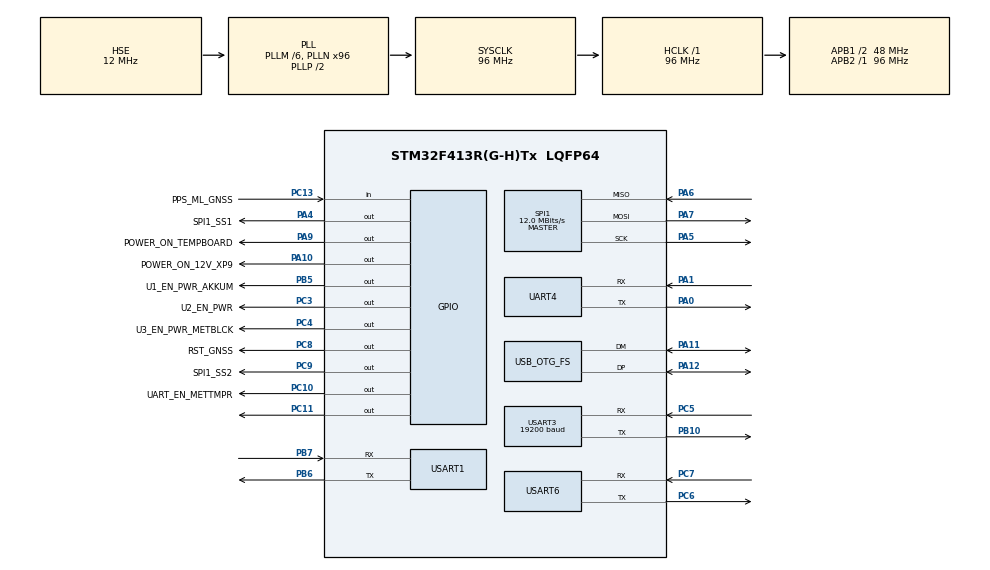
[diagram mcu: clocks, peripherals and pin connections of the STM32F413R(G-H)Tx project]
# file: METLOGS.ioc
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Mcu.Family=STM32F4
Mcu.Name=STM32F413R(G-H)Tx
Mcu.Package=LQFP64
NVIC.OTG_FS_IRQn=true\:0\:0\:false\:false\:true\:false\:true\:true
NVIC.PriorityGroup=NVIC_PRIORITYGROUP_4
NVIC.UART4_IRQn=true\:0\:0\:false\:false\:true\:true\:true\:true
NVIC.USART1_IRQn=true\:0\:0\:false\:false\:true\:true\:true\:true
NVIC.USART3_IRQn=true\:0\:0\:false\:false\:true\:true\:true\:true
NVIC.USART6_IRQn=true\:0\:0\:false\:false\:true\:true\:true\:true
PA0.Mode=Asynchronous
PA0.Signal=UART4_TX
PA1.Mode=Asynchronous
PA1.Signal=UART4_RX
PA10.GPIO_Label=POWER_ON_12V_XP9
PA10.Signal=GPIO_Output
PA11.Mode=Device_Only
PA11.Signal=USB_OTG_FS_DM
PA12.Mode=Device_Only
PA12.Signal=USB_OTG_FS_DP
PA4.GPIO_Label=SPI1_SS1
PA4.Signal=GPIO_Output
PA5.Mode=Full_Duplex_Master
PA5.Signal=SPI1_SCK
PA6.Mode=Full_Duplex_Master
PA6.Signal=SPI1_MISO
PA7.Mode=Full_Duplex_Master
PA7.Signal=SPI1_MOSI
PA9.GPIO_Label=POWER_ON_TEMPBOARD
PA9.PinState=GPIO_PIN_SET
PA9.Signal=GPIO_Output
PB10.Mode=Asynchronous
PB10.Signal=USART3_TX
PB5.GPIO_Label=U1_EN_PWR_AKKUM
PB5.Signal=GPIO_Output
PB6.Mode=Asynchronous
PB6.Signal=USART1_TX
PB7.Mode=Asynchronous
PB7.Signal=USART1_RX
PC10.GPIO_Label=UART_EN_METTMPR
PC10.GPIO_Speed=GPIO_SPEED_FREQ_VERY_HIGH
PC10.PinState=GPIO_PIN_RESET
PC10.Signal=GPIO_Output
PC11.GPIO_Speed=GPIO_SPEED_FREQ_VERY_HIGH
PC11.Signal=GPIO_Output
PC13.GPIO_Label=PPS_ML_GNSS
PC13.Signal=GPIO_Input
PC3.GPIO_Label=U2_EN_PWR
PC3.Signal=GPIO_Output
PC4.GPIO_Label=U3_EN_PWR_METBLCK
PC4.Signal=GPIO_Output
PC5.Mode=Asynchronous
PC5.Signal=USART3_RX
PC6.Mode=Asynchronous
PC6.Signal=USART6_TX
PC7.Mode=Asynchronous
PC7.Signal=USART6_RX
PC8.GPIO_Label=RST_GNSS
PC8.PinState=GPIO_PIN_RESET
PC8.Signal=GPIO_Output
PC9.GPIO_Label=SPI1_SS2
PC9.PinState=GPIO_PIN_SET
PC9.Signal=GPIO_Output
PH0\ -\ OSC_IN.Mode=HSE-External-Oscillator
PH0\ -\ OSC_IN.Signal=RCC_OSC_IN
PH1\ -\ OSC_OUT.Mode=HSE-External-Oscillator
PH1\ -\ OSC_OUT.Signal=RCC_OSC_OUT
ProjectManager.HeapSize=0x200
ProjectManager.StackSize=0x800
ProjectManager.TargetToolchain=MDK-ARM V5.32
RCC.AHBFreq_Value=96000000
RCC.APB1CLKDivider=RCC_HCLK_DIV2
RCC.APB1Freq_Value=48000000
RCC.APB1TimFreq_Value=96000000
RCC.APB2Freq_Value=96000000
RCC.APB2TimFreq_Value=96000000
RCC.CortexFreq_Value=96000000
RCC.EnbaleCSS=true
RCC.HCLKFreq_Value=96000000
RCC.HSE_VALUE=12000000
RCC.PLLM=6
RCC.PLLN=96
RCC.PLLQ=4
RCC.PLLSourceVirtual=RCC_PLLSOURCE_HSE
RCC.SYSCLKFreq_VALUE=96000000
RCC.SYSCLKSource=RCC_SYSCLKSOURCE_PLLCLK
RCC.USBFreq_Value=48000000
RCC.VCOOutputFreq_Value=192000000
SPI1.BaudRatePrescaler=SPI_BAUDRATEPRESCALER_8
SPI1.CalculateBaudRate=12.0 MBits/s
SPI1.Direction=SPI_DIRECTION_2LINES
SPI1.Mode=SPI_MODE_MASTER
SPI1.VirtualType=VM_MASTER
UART4.VirtualMode=Asynchronous
USART1.VirtualMode=VM_ASYNC
USART3.BaudRate=19200
USART3.VirtualMode=VM_ASYNC
USART6.VirtualMode=VM_ASYNC
USB_DEVICE.CLASS_NAME_FS=CDC
USB_DEVICE.VirtualMode=Cdc
USB_DEVICE.VirtualModeFS=Cdc_FS
USB_OTG_FS.VirtualMode=Device_Only
VP_USB_DEVICE_VS_USB_DEVICE_CDC_FS.Mode=CDC_FS
board=custom

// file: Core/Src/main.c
/* USER CODE BEGIN Header */
/**
 ******************************************************************************
 * @file           : main.c
 * @brief          : Main program body
 ******************************************************************************
 * @attention
 *
 * <h2><center>&copy; Copyright (c) 2023 STMicroelectronics.
 * All rights reserved.</center></h2>
 *
 * This software component is licensed by ST under Ultimate Liberty license
 * SLA0044, the "License"; You may not use this file except in compliance with
 * the License. You may obtain a copy of the License at:
 *                             www.st.com/SLA0044
 *
 ******************************************************************************
 */
/* USER CODE END Header */
#include "main.h"
#include "spi.h"
#include "usart.h"
#include "usb_device.h"
#include "gpio.h"

/* USER CODE BEGIN Includes */
#include "usbd_cdc_if.h"
#include "SST26.h"
#include "LogsSST26.h"

// #include "LogsSST26/LogsSST26.h"
//  #include "crc/crc16.h"
/* USER CODE END Includes */

/* USER CODE BEGIN PV */
uint8_t str[1];
uint8_t dataReceived = 0;    // ������� ������ ��������
uint8_t dataTransmitted = 1; // ������� ������ ��������
uint8_t *Buf;

uint8_t flagBoard = 0;            // ??????? ?????? ????????
uint8_t receiveRingBuf[32] = {0}; // ??????? ?????? ????????

uint8_t requestTemperature = 0x5e;
uint8_t exitTemperature8[12] = {0};

// uart

uint8_t RxData[12] = {0};
uint8_t RxData6[60] = {0};
int indx = 0;
uint8_t fullPacket[12] = {0xFD, 0x55, 0};

//----------Log
log3_t log3 = {0};
// uint32_t currentID_log_buf = 0;
uint8_t blockInterruptUSB = 0;
uint16_t currentID_log_buf = 0;
uint16_t currentID_log_Reading = 0;
uint32_t currentFreeAddrLog = 0;

#define ziseMassive 256
#define ziseSector 4096
uint8_t rxDataFlash[ziseMassive + ziseMassive] = {0};

uint8_t statusFlashExt = 0;
uint8_t testMassiveExtFlash[ziseMassive] = {0};
uint8_t rxFlashSector[ziseSector] = {0};

#define ziseRBPR 14
uint8_t rxDataFlash_RBPR[ziseRBPR] = {0};

//----debug log

//---------Debug

uint32_t defaultTime = 0x937;
uint32_t defaultDate = 0x0134D879;
uint16_t countLogID = 0;

uint32_t testValue = 0xAAAAAAAA;
uint32_t freeAdressExtFlash = 0;

uint32_t flashID1 = 0;
/* USER CODE END PV */

void SystemClock_Config(void);

/* USER CODE BEGIN 0 */

//----oldVersion log
// void writeTestLog(uint8_t numbOfFlash)
// {
// log3_t log31 = {0};
// // log3_func->
// log31.ID = currentID_log_buf;
// log31.Date = 20240803;
// log31.Time = 181920;
// log31.Coordinate_oXoY = 444444;
// for (size_t i = 0; i < NUMB_TEMPBOARD_SENSOR; i++)
// {
//   log31.Temperature[i] = 20 + i;
// }
// log31.VoltageBattery = 25;
// log31.OnPowerMETTMP_Board = 0;
// log31.ExtMetTMPRTR_Heater = 25;
// log31.ExtMetTMPRTR_Air = 25;
// log31.ExtMetPressureAtmosphere = 25;
// log31.ExtMetHumidity = 25;
// log31.ExtMetSpeedAir_oX = 25;
// log31.ExtMetSpeedAir_oY = 25;
// log31.ExtMetSpeedAir_Result = 25;
// log31.ExtMetDirectAir = 25;
// log31.ExtMetSpeedUltrasound_oX = 25;
// log31.ExtMetSpeedUltrasound_oY = 25;
// for (size_t i = 0; i < 47; i++)
// {
//   log31.Reserved2[i] = i;
// }
// log31.EndOfLog = 0;
// // sFLASH_WritePage((uint8_t *)&log31, sFLASH_SPI_PAGE_SIZE * currentID_log_buf, sizeof(log3_t), numbOfFlash);
// SST26writeLog1(log31, currentID_log_buf, 1);
// currentID_log_buf++;
// }

uint16_t lastLogID = 0;

// new version log
void writeTestLog(uint8_t numbOfFlash)
{

  log3_t log31 = {0};

  // log3_func->
  log31.ID = currentID_log_buf;
  log31.Date[0] = 3;
  log31.Date[1] = 8;
  log31.Date[2] = 24;

  log31.Time[0] = 18;
  log31.Time[1] = 19;
  log31.Time[2] = 20;
  log31.Time[3] = 0;

  // --//--
  log31.EndOfLog = 0;

  SST26writeLog1(log31, currentID_log_buf, 1);

  currentID_log_buf++;
}

/* USER CODE END 0 */

int main(void)
{

  /* MCU Configuration--------------------------------------------------------*/

  /* Reset of all peripherals, Initializes the Flash interface and the Systick. */
  HAL_Init();

  /* Configure the system clock */
  SystemClock_Config();

  /* Initialize all configured peripherals */
  MX_GPIO_Init();
  MX_USB_DEVICE_Init();
  MX_SPI1_Init();
  MX_UART4_Init();
  MX_USART6_UART_Init();
  MX_USART1_UART_Init();
  MX_USART3_UART_Init();
  /* USER CODE BEGIN 2 */
  HAL_Delay(2000);
  memset(testMassiveExtFlash, 0xAB, ziseMassive - 6);

  volatile uint32_t sizeLog123 = sizeof(log3_t);
  //------------------v1

  //  sFLASH_TxSimpleCmd(1, FLASH_CMD_ULBPR);
  //  flashID1 = sFLASH_ReadID(1);
  //  // sFLASH_InitSST26(1);
  //  statusFlashExt = sFLASH_ReadSimpleCommand(FLASH_CMD_RDSR, 1);
  //  for (size_t i = 0; i < 2; i++)
  //  {
  //    sFLASH_EraseSector(i * sFLASH_SPI_SECTOR_SIZE, 1);
  //    sFLASH_WritePage(testMassiveExtFlash, i * sFLASH_SPI_PAGE_SIZE, sizeof(testMassiveExtFlash), 1);
  //  }
  //  statusFlashExt = sFLASH_ReadSimpleCommand(FLASH_CMD_RDSR, 1);
  //  for (size_t i = 0; i < 1; i++)
  //  {
  //    sFLASH_ReadBuffer(rxDataFlash, i * sFLASH_SPI_PAGE_SIZE, sFLASH_SPI_PAGE_SIZE+sFLASH_SPI_PAGE_SIZE, 1);
  //  }
  //  statusFlashExt = sFLASH_ReadSimpleCommand(FLASH_CMD_RDSR, 1);
  //  sFLASH_ReadCommand(FLASH_CMD_RBPR, rxDataFlash_RBPR, ziseRBPR, 1);

  //   //--------v2
  //   // #define NUMB_FLASH_FOR_LOGS 1
  //   sFLASH_TxSimpleCmd(1, FLASH_CMD_ULBPR);
  //   flashID1 = sFLASH_ReadID(1);
  //   statusFlashExt = sFLASH_ReadSimpleCommand(FLASH_CMD_RDSR, 1);

  //   sFLASH_EraseSector(0, 1);
  //   sFLASH_ReadBuffer(rxDataFlash, 0, sizeof(rxDataFlash), 1);
  //   currentFreeAddrLog = sFLASH_SearchLastFreePageAdress(&currentID_log_buf, 1);
  // //  sFLASH_EraseSector(0, 1);
  // 	sFLASH_WritePage(testMassiveExtFlash, 0, sizeof(testMassiveExtFlash), 1);
  // //00
  //   memset(rxDataFlash, 0x00, ziseMassive + ziseMassive);
  //   sFLASH_ReadBuffer(rxDataFlash, 0, sizeof(rxDataFlash), 1);
  //   currentFreeAddrLog = sFLASH_SearchLastFreePageAdress(&currentID_log_buf, 1);
  //   writeTestLog(1);

  //   memset(rxDataFlash, 0x00, ziseMassive + ziseMassive);
  //   sFLASH_ReadBuffer(rxDataFlash, 0, sizeof(rxDataFlash), 1);
  //   currentFreeAddrLog = sFLASH_SearchLastFreePageAdress(&currentID_log_buf, 1);

  //-------------------------------
  // test v3
  // write/read data to flash

  sFLASH_TxSimpleCmd(1, FLASH_CMD_ULBPR);
  flashID1 = sFLASH_ReadID(1);
  statusFlashExt = sFLASH_ReadSimpleCommand(FLASH_CMD_RDSR, 1);

  // 1
  SST26clearSectorLogs_sector(0, 1);
  // sFLASH_EraseSector(0, 1);
  currentFreeAddrLog = sFLASH_SearchLastFreePageAdress(&currentID_log_buf, 1);
  sFLASH_ReadBuffer(rxDataFlash, 0, sizeof(rxDataFlash), 1);
  log3 = SST26readIDLogsReturn(currentID_log_buf, 1);
  //	sFLASH_WritePage(testMassiveExtFlash, 0, sizeof(testMassiveExtFlash), 1);
  //  SST26writeLog1(log3, currentID_log_buf, 1);

  // 2
  writeTestLog(1);

  // 00
  // подготовка приемного массива
  //   memset(rxDataFlash, 0x00, ziseMassive + ziseMassive);
  //   sFLASH_ReadBuffer(rxDataFlash, 0, sizeof(rxDataFlash), 1);

  // чтение лога который записали
  // 3
  log3 = SST26readIDLogsReturn(currentID_log_buf - 1, 1);

  // 4 запись следующего лога в след ячейки
  currentFreeAddrLog = sFLASH_SearchLastFreePageAdress(&currentID_log_buf, 1);
  writeTestLog(1);
  currentFreeAddrLog = sFLASH_SearchLastFreePageAdress(&currentID_log_buf, 1);
  writeTestLog(1);
  currentFreeAddrLog = sFLASH_SearchLastFreePageAdress(&currentID_log_buf, 1);
  writeTestLog(1);

  // memset(rxDataFlash, 0x00, ziseMassive + ziseMassive);
  // sFLASH_ReadBuffer(rxDataFlash, 0, sizeof(rxDataFlash), 1);
  log3 = SST26readIDLogsReturn(currentID_log_buf - 1, 1);
  currentFreeAddrLog = sFLASH_SearchLastFreePageAdress(&currentID_log_buf, 1);

  //-----------------

  // 5
  // read Full sector
  memset(rxFlashSector, 0x00, ziseSector);
  sFLASH_ReadBuffer(rxFlashSector, 0, sizeof(rxFlashSector), 1);

  //---------------end

  //-----------------------
  // test 4
  // read all logs to usb

  SST26readAllLogs(0, 1);
  // check data in USB

  //----------------

  // // freeAdressExtFlash = sFLASH_SearchLastFreePageAdress(1);
  // sFLASH_WritePage((uint8_t *)&testValue, 0, 40, 1);
  // // freeAdressExtFlash = sFLASH_SearchLastFreePageAdress(1);
  // // sFLASH_WritePage((uint8_t *)&testValue, freeAdressExtFlash, 4, 1);
  // // freeAdressExtFlash = sFLASH_SearchLastFreePageAdress(1);

  // //  HAL_GPIO_WritePin(GPIOC, GPIO_PIN_4, GPIO_PIN_RESET);

  // // __HAL_UART_ENABLE_IT(&huart4, UART_IT_IDLE);

  // // HAL_UART_Receive_IT(&huart4, &receiveRingBuf[0], 12);

  HAL_UARTEx_ReceiveToIdle_IT(&huart4, RxData, sizeof(RxData));
  //  HAL_UARTEx_ReceiveToIdle_IT(&huart6, RxData6, sizeof(RxData6));

  /* USER CODE END 2 */

  /* Infinite loop */
  /* USER CODE BEGIN WHILE */
  while (1)
  {

    HAL_Delay(10000);

    SST26readAllLogs(0, 1);
    // if (flagBoard & INTERRUPT_USB_MASK)
    if (flagBoard == 1)
    {
      //          flagBoard &= 0xFE;
      flagBoard = 0;
      HAL_GPIO_TogglePin(GPIOC, GPIO_PIN_11);
      //      PIN_EN_TRANSMIT_UART4(1);
      //      // HAL_UART_Transmit(&huart4, &requestTemperature, 1, 100);
      //      HAL_UART_Transmit_IT(&huart4, &requestTemperature, 1);
      //      HAL_Delay(10);
      //      PIN_EN_TRANSMIT_UART4(0);
      //      // CDC_Transmit_FS(str, 1);
    }

    /* USER CODE END WHILE */

  }
}

void SystemClock_Config(void)
{
  RCC_OscInitTypeDef RCC_OscInitStruct = {0};
  RCC_ClkInitTypeDef RCC_ClkInitStruct = {0};

  /** Configure the main internal regulator output voltage
   */
  __HAL_RCC_PWR_CLK_ENABLE();
  __HAL_PWR_VOLTAGESCALING_CONFIG(PWR_REGULATOR_VOLTAGE_SCALE1);
  /** Initializes the RCC Oscillators according to the specified parameters
   * in the RCC_OscInitTypeDef structure.
   */
  RCC_OscInitStruct.OscillatorType = RCC_OSCILLATORTYPE_HSE;
  RCC_OscInitStruct.HSEState = RCC_HSE_ON;
  RCC_OscInitStruct.PLL.PLLState = RCC_PLL_ON;
  RCC_OscInitStruct.PLL.PLLSource = RCC_PLLSOURCE_HSE;
  RCC_OscInitStruct.PLL.PLLM = 6;
  RCC_OscInitStruct.PLL.PLLN = 96;
  RCC_OscInitStruct.PLL.PLLP = RCC_PLLP_DIV2;
  RCC_OscInitStruct.PLL.PLLQ = 4;
  RCC_OscInitStruct.PLL.PLLR = 2;
  if (HAL_RCC_OscConfig(&RCC_OscInitStruct) != HAL_OK)
  {
    Error_Handler();
  }
  /** Initializes the CPU, AHB and APB buses clocks
   */
  RCC_ClkInitStruct.ClockType = RCC_CLOCKTYPE_HCLK | RCC_CLOCKTYPE_SYSCLK | RCC_CLOCKTYPE_PCLK1 | RCC_CLOCKTYPE_PCLK2;
  RCC_ClkInitStruct.SYSCLKSource = RCC_SYSCLKSOURCE_PLLCLK;
  RCC_ClkInitStruct.AHBCLKDivider = RCC_SYSCLK_DIV1;
  RCC_ClkInitStruct.APB1CLKDivider = RCC_HCLK_DIV2;
  RCC_ClkInitStruct.APB2CLKDivider = RCC_HCLK_DIV1;

  if (HAL_RCC_ClockConfig(&RCC_ClkInitStruct, FLASH_LATENCY_3) != HAL_OK)
  {
    Error_Handler();
  }
  /** Enables the Clock Security System
   */
  HAL_RCC_EnableCSS();
}

/* USER CODE BEGIN 4 */

void HAL_UARTEx_RxEventCallback(UART_HandleTypeDef *huart, uint16_t Size)
{
  const uint8_t startWord8[2] = {0xFD, 0x55};
  indx = Size;

  if (huart->Instance == UART4) // check if the interrupt comes from
  {
    if (memcmp(RxData, &requestTemperature, 1) != 0)
    {
      // for (size_t i = 0; i < 5; i++)
      // {
      //   memcpy(&fullPacket[i * 2 + 1], &temperatureSensor[i].sourceTemperature, 2);
      // }

      memcpy(&exitTemperature8[0], &startWord8[0], 2);
      memcpy(&exitTemperature8[2], &RxData[2], 10);
      CDC_Transmit_FS(&exitTemperature8[0], sizeof(exitTemperature8));

      // writeLog(uint32_t * temperature_ptr);
    }

    HAL_UARTEx_ReceiveToIdle_IT(&huart4, RxData, sizeof(RxData));
  }
}

/* USER CODE END 4 */

void Error_Handler(void)
{
  __disable_irq();
  while (1)
  {
  }
}

/************************ (C) COPYRIGHT STMicroelectronics *****END OF FILE****/
